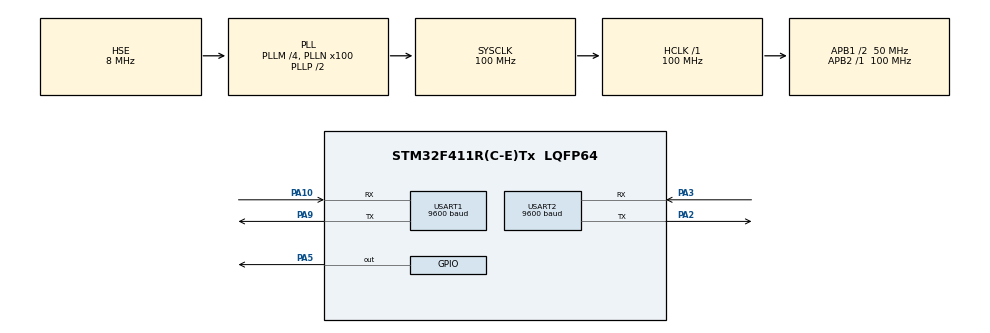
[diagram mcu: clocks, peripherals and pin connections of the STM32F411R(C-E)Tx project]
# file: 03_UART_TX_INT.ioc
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Mcu.Family=STM32F4
Mcu.Name=STM32F411R(C-E)Tx
Mcu.Package=LQFP64
NVIC.PriorityGroup=NVIC_PRIORITYGROUP_4
NVIC.USART1_IRQn=true\:0\:0\:false\:false\:true\:true\:true\:true
NVIC.USART2_IRQn=true\:0\:0\:false\:false\:true\:true\:true\:true
PA10.Mode=Asynchronous
PA10.Signal=USART1_RX
PA13.Mode=Serial_Wire
PA13.Signal=SYS_JTMS-SWDIO
PA14.Mode=Serial_Wire
PA14.Signal=SYS_JTCK-SWCLK
PA2.Mode=Asynchronous
PA2.Signal=USART2_TX
PA3.Mode=Asynchronous
PA3.Signal=USART2_RX
PA5.Signal=GPIO_Output
PA9.Mode=Asynchronous
PA9.Signal=USART1_TX
PH0\ -\ OSC_IN.Mode=HSE-External-Oscillator
PH0\ -\ OSC_IN.Signal=RCC_OSC_IN
PH1\ -\ OSC_OUT.Mode=HSE-External-Oscillator
PH1\ -\ OSC_OUT.Signal=RCC_OSC_OUT
ProjectManager.HeapSize=0x200
ProjectManager.StackSize=0x400
ProjectManager.TargetToolchain=STM32CubeIDE
RCC.48MHZClocksFreq_Value=50000000
RCC.AHBFreq_Value=100000000
RCC.APB1CLKDivider=RCC_HCLK_DIV2
RCC.APB1Freq_Value=50000000
RCC.APB1TimFreq_Value=100000000
RCC.APB2Freq_Value=100000000
RCC.APB2TimFreq_Value=100000000
RCC.CortexFreq_Value=100000000
RCC.HCLKFreq_Value=100000000
RCC.HSE_VALUE=8000000
RCC.HSI_VALUE=16000000
RCC.LSE_VALUE=32768
RCC.PLLM=4
RCC.PLLN=100
RCC.PLLSourceVirtual=RCC_PLLSOURCE_HSE
RCC.SYSCLKFreq_VALUE=100000000
RCC.SYSCLKSource=RCC_SYSCLKSOURCE_PLLCLK
RCC.VCOOutputFreq_Value=200000000
USART1.BaudRate=9600
USART1.VirtualMode=VM_ASYNC
USART2.BaudRate=9600
USART2.VirtualMode=VM_ASYNC
board=custom

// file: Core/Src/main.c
/* USER CODE BEGIN Header */
/**
  ******************************************************************************
  * @file           : main.c
  * @brief          : Main program body
  ******************************************************************************
  * @attention
  *
  * Copyright (c) 2025 STMicroelectronics.
  * All rights reserved.
  *
  * This software is licensed under terms that can be found in the LICENSE file
  * in the root directory of this software component.
  * If no LICENSE file comes with this software, it is provided AS-IS.
  *
  ******************************************************************************
  */
/* USER CODE END Header */
#include "main.h"
#include "usart.h"
#include "gpio.h"
#include "fnd.h"

/* USER CODE BEGIN PV */

uint8_t rxData1;
uint8_t rxData2;
uint8_t txData[] = "Hello STM32\r\n";

/* USER CODE END PV */

void SystemClock_Config(void);
/* USER CODE BEGIN PFP */
void HAL_UART_RxCpltCallback(UART_HandleTypeDef *huart)
{
	if(huart->Instance == USART2)
	{
	HAL_UART_Receive_IT(&huart2, &rxData2, 1);
//	HAL_UART_Transmit_IT(&huart1, &rxData2, sizeof(rxData2));
	HAL_UART_Transmit(&huart1, &rxData2, sizeof(rxData2), 1 );
	}

	else if(huart->Instance == USART1)
		{
		HAL_UART_Receive_IT(&huart1, &rxData1, sizeof(rxData1));
//		HAL_UART_Transmit_IT(&huart2, &rxData1, sizeof(rxData1));
		 HAL_UART_Transmit(&huart2, &rxData1, sizeof(rxData1), 1);
//		 HAL_UART_Transmit(&huart1, txData, sizeof(txData), 1);
		}

}

/* USER CODE END PFP */

int main(void)
{

  /* MCU Configuration--------------------------------------------------------*/

  /* Reset of all peripherals, Initializes the Flash interface and the Systick. */
  HAL_Init();

  /* Configure the system clock */
  SystemClock_Config();

  /* Initialize all configured peripherals */
  MX_GPIO_Init();
  MX_USART2_UART_Init();
  MX_USART1_UART_Init();
  /* USER CODE BEGIN 2 */

HAL_UART_Receive_IT(&huart2, &rxData2, 1);
HAL_UART_Receive_IT(&huart1, &rxData1, 1);

  /* USER CODE END 2 */

  /* Infinite loop */
  /* USER CODE BEGIN WHILE */
  while (1)
  {

	  uint8_t i = rxData1 -'0';

	 	  if (rxData1 >= '0' && rxData1 <= '9')
	 	     {
	 	              switch ( i )
	 	          {

	 	          case  0 : displayNumber(0); break;
	 	          case  1 : displayNumber(1); break;
	 	          case  2:  displayNumber(2); break;
	 	          case  3 : displayNumber(3); break;
	 	          case  4 : displayNumber(4); break;
	 	          case  5 : displayNumber(5); break;
	 	          case  6 : displayNumber(6); break;
	 	          case  7 : displayNumber(7); break;
	 	          case  8 : displayNumber(8); break;
	 	          case  9:  displayNumber(9); break;
	 	          }
	 	     }

    /* USER CODE END WHILE */

  }
}

void SystemClock_Config(void)
{
  RCC_OscInitTypeDef RCC_OscInitStruct = {0};
  RCC_ClkInitTypeDef RCC_ClkInitStruct = {0};

  /** Configure the main internal regulator output voltage
  */
  __HAL_RCC_PWR_CLK_ENABLE();
  __HAL_PWR_VOLTAGESCALING_CONFIG(PWR_REGULATOR_VOLTAGE_SCALE1);

  /** Initializes the RCC Oscillators according to the specified parameters
  * in the RCC_OscInitTypeDef structure.
  */
  RCC_OscInitStruct.OscillatorType = RCC_OSCILLATORTYPE_HSE;
  RCC_OscInitStruct.HSEState = RCC_HSE_ON;
  RCC_OscInitStruct.PLL.PLLState = RCC_PLL_ON;
  RCC_OscInitStruct.PLL.PLLSource = RCC_PLLSOURCE_HSE;
  RCC_OscInitStruct.PLL.PLLM = 4;
  RCC_OscInitStruct.PLL.PLLN = 100;
  RCC_OscInitStruct.PLL.PLLP = RCC_PLLP_DIV2;
  RCC_OscInitStruct.PLL.PLLQ = 4;
  if (HAL_RCC_OscConfig(&RCC_OscInitStruct) != HAL_OK)
  {
    Error_Handler();
  }

  /** Initializes the CPU, AHB and APB buses clocks
  */
  RCC_ClkInitStruct.ClockType = RCC_CLOCKTYPE_HCLK|RCC_CLOCKTYPE_SYSCLK
                              |RCC_CLOCKTYPE_PCLK1|RCC_CLOCKTYPE_PCLK2;
  RCC_ClkInitStruct.SYSCLKSource = RCC_SYSCLKSOURCE_PLLCLK;
  RCC_ClkInitStruct.AHBCLKDivider = RCC_SYSCLK_DIV1;
  RCC_ClkInitStruct.APB1CLKDivider = RCC_HCLK_DIV2;
  RCC_ClkInitStruct.APB2CLKDivider = RCC_HCLK_DIV1;

  if (HAL_RCC_ClockConfig(&RCC_ClkInitStruct, FLASH_LATENCY_3) != HAL_OK)
  {
    Error_Handler();
  }
}

void Error_Handler(void)
{
  __disable_irq();
  while (1)
  {
  }
}
